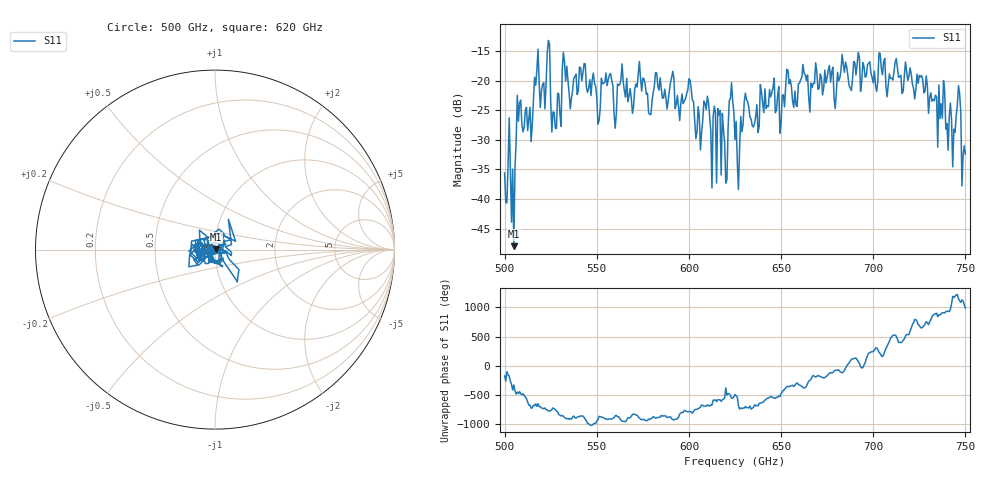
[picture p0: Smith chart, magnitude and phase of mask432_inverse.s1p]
!Created with skrf (http://scikit-rf.org).
# GHz S MA R 50.0
!freq magS11 angS11
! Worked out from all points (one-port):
!   401 points, 500 GHz to 750 GHz, reference 50 ohm
!   lowest |S11| = -48.0 dB at 505 GHz (marker M1), VSWR 1.01, Z = 50.4 + j0.193 ohm
!   |S11| at or under -10 dB: start of sweep to end of sweep
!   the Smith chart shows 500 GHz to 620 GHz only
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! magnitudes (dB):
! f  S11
! 500 GHz  -35.6
! 505 GHz  -48.0
! 508.1 GHz  -23.7
! 513.8 GHz  -24.5
! 516.9 GHz  -20.8
! 520.6 GHz  -20.6
! 523.8 GHz  -13.2
! 526.9 GHz  -25.3
! 531.2 GHz  -18.3
! 542.5 GHz  -18.7
! 550.6 GHz  -27.3
! 562.5 GHz  -20.7
! 590.6 GHz  -19.4
! 593.8 GHz  -22.5
! 600 GHz  -19.7
! 605 GHz  -24.4
! 609.4 GHz  -24.9
! 620 GHz  -37.3
! 623.1 GHz  -20.3
! 625 GHz  -30.0
! 626.2 GHz  -33.8
! 631.2 GHz  -23.2
! 656.2 GHz  -23.5
! 687.5 GHz  -21.2
! 718.8 GHz  -19.9
! 741.9 GHz  -23.8
! 746.2 GHz  -20.8
! 750 GHz  -32.4
